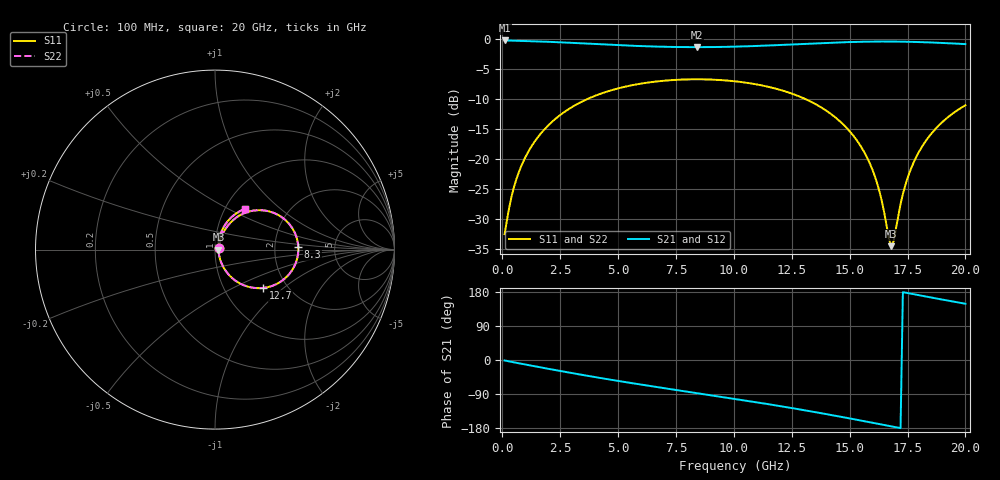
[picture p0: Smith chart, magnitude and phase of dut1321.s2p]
! Touchstone file exported from HFSS 2026.1.0
!  File:  C:/ffzhzh/LocalFiles/Ansys_Project_Files/temp_train_TSV_RDL_1321_1783336504_30076.aedt
!  Generated:  07:26:25 PM Jul  6, 2026
!  Design:  TSV_RDL
!  Project:  temp_train_TSV_RDL_1321_1783336504_30076
! Variables:
!  h_bsmrdl = 2.28um
!  h_ox = 20um
!  h_rdl = 5um
!  h_sub = 69.88um
!  h_tmrdl = 2.47um
!  h_tsv = 69.88um
!  h_via = 3um
!  l_bsmrdl = 835.53um
!  l_sub = 3478.44um
!  l_tmrdl = 113.03um
!  m_sub = 200um
!  pitch = 46.38um
!  r_tsv = 11.38um
!  s_tmrdl = 10um
!  w_bsmrdl = 25.04um
!  w_sub = 500um
!  w_tmrdl = 14.87um
!  x_tsv_center1 = 120.465um
!  x_tsv_center2 = 981.035um
!  x_tsv_center3 = 1108.935um
!  x_tsv_center4 = 1969.505um
!  x_tsv_center5 = 2097.405um
!  x_tsv_center6 = 2957.975um
# GHz S MA R 50.000000
! Terminal data exported
! Port[1] = TM_RDL1_1_T1
! Port[2] = TM_RDL5_1_T1
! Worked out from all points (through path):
!   200 points, 100 MHz to 20 GHz, reference 50 ohm
!   highest |S21| = -0.18 dB at 100 MHz (marker M1); lowest = -1.3 dB at 8.4 GHz (marker M2)
!   group delay of S21, straight-line fit = 28.5 ps
!   lowest |S11| = -34.5 dB at 16.8 GHz (marker M3), VSWR 1.04, Z = 51.9 + j0.00631 ohm
!   |S11| at or under -10 dB: start of sweep to 3.65 GHz; 13.11 GHz to end of sweep
!   |S22| runs from -34.5 to -6.7 dB; largest |S21 - S12| = 3e-14
!   S11 on the Smith chart (normalised r, x): 100 MHz: 1.04, +0.02; 8.3 GHz: 2.73, +0.09; 12.7 GHz: 1.51, -0.73; 20 GHz: 1.24, +0.61
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0.1  0.02374 27.0  0.979 -1.3  0.979 -1.3  0.02374 27.0
! Gamma 0 0 0 0
! Port Impedance 50 0 50 0
0.5  0.05813 59.7  0.9746 -6.1  0.9746 -6.1  0.05813 59.7
1.2  0.1226 63.3  0.9658 -14.3  0.9658 -14.3  0.1226 63.3
2.2  0.2096 56.9  0.9504 -25.6  0.9504 -25.6  0.2096 56.9
3.5  0.3065 45.2  0.9248 -39.8  0.9248 -39.8  0.3065 45.2
5.1  0.3942 30.3  0.8929 -56.2  0.8929 -56.2  0.3942 30.3
6.8  0.4483 14.9  0.8689 -72.5  0.8689 -72.5  0.4483 14.9
8.3  0.4644 1.6  0.861 -86.4  0.861 -86.4  0.4644 1.6
8.4  0.4644 0.7  0.861 -87.4  0.861 -87.4  0.4644 0.7
10.1  0.4457 -14.5  0.8699 -103.2  0.8699 -103.2  0.4457 -14.5
12.7  0.3416 -38.7  0.9104 -128.9  0.9104 -128.9  0.3416 -38.7
13.4  0.2971 -45.5  0.9236 -136.3  0.9236 -136.3  0.2971 -45.5
14.7  0.1972 -57.7  0.9454 -150.7  0.9454 -150.7  0.1972 -57.7
15.6  0.1174 -64.1  0.9554 -161.1  0.9554 -161.1  0.1175 -64.1
16.2  0.06198 -62.5  0.9586 -168.1  0.9586 -168.1  0.06198 -62.5
16.7  0.02161 -25.4  0.9589 -173.9  0.9589 -173.9  0.02156 -25.5
16.8  0.01883 0.2  0.9587 -175.1  0.9587 -175.1  0.01876 0.2
16.9  0.02077 26.9  0.9584 -176.3  0.9584 -176.3  0.0207 27.0
17.4  0.06024 67.9  0.9556 177.8  0.9556 177.8  0.06021 68.0
17.9  0.1065 70.2  0.9506 172.0  0.9506 172.0  0.1064 70.3
18.8  0.187 64.6  0.9371 161.7  0.9371 161.7  0.187 64.6
20  0.2819 53.6  0.9128 148.4  0.9128 148.4  0.2819 53.7
